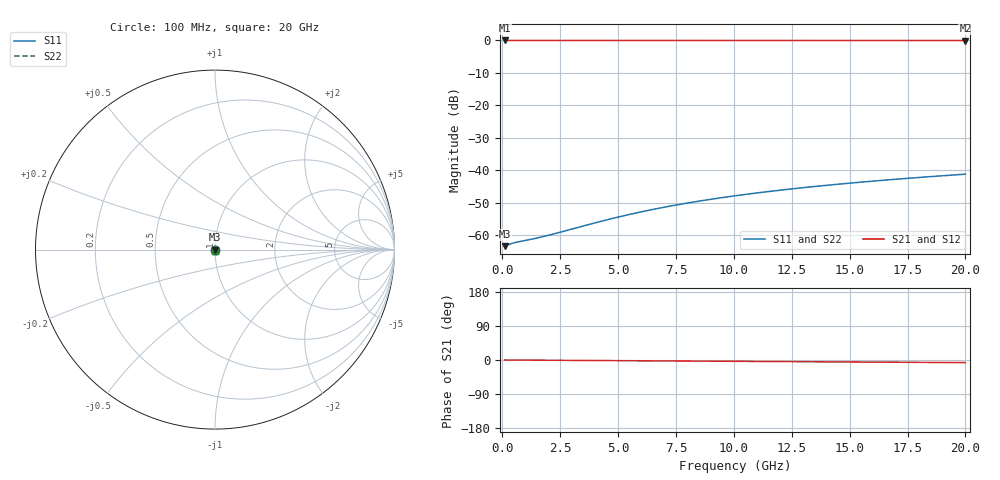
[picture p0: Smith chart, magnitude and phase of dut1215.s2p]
! Touchstone file exported from HFSS 2026.1.0
!  File:  C:/ffzhzh/LocalFiles/Ansys_Project_Files/temp_train_TSV_1215_1783192916_22436.aedt
!  Generated:  03:23:46 AM Jul  5, 2026
!  Design:  TSV
!  Project:  temp_train_TSV_1215_1783192916_22436
! Variables:
!  h_bsmrdl = 2um
!  h_ox = 20um
!  h_rdl = 5um
!  h_sub = 75.03um
!  h_tmrdl = 5um
!  h_tsv = 75.03um
!  h_via = 3um
!  l_bsmrdl = 300um
!  l_sub = 407.34um
!  l_tmrdl = 200um
!  m_sub = 200um
!  pitch = 14.02um
!  r_tsv = 3.67um
!  s_tmrdl = 10um
!  w_bsmrdl = 18um
!  w_sub = 500um
!  w_tmrdl = 12um
!  x_tsv_center1 = 206um
!  x_tsv_center2 = 524um
!  x_tsv_center3 = 736um
!  x_tsv_center4 = 1054um
!  x_tsv_center5 = 1266um
!  x_tsv_center6 = 1584um
# GHz S MA R 50.000000
! Terminal data exported
! Port[1] = TSV1_1_T1
! Port[2] = TSV1_1_T2
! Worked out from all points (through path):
!   200 points, 100 MHz to 20 GHz, reference 50 ohm
!   highest |S21| = -0.01 dB at 100 MHz (marker M1); lowest = 0.0 dB at 20 GHz (marker M2)
!   lowest |S11| = -63.5 dB at 100 MHz (marker M3), VSWR 1.00, Z = 50.1 + j0.00133 ohm
!   |S11| at or under -10 dB: start of sweep to end of sweep
!   |S22| runs from -63.5 to -41.2 dB; largest |S21 - S12| = 4e-15
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0.1  0.0006713 1.1  0.9993 -0.0  0.9993 -0.0  0.0006713 1.1
! Gamma 0 0 0 0
! Port Impedance 50 0 50 0
0.3  0.0007165 0.4  0.9993 -0.1  0.9993 -0.1  0.0007165 0.4
0.5  0.0007552 -2.7  0.9992 -0.2  0.9992 -0.2  0.0007552 -2.7
0.7  0.0007844 -6.1  0.9992 -0.3  0.9992 -0.3  0.0007843 -6.1
1.4  0.000881 -16.7  0.9992 -0.5  0.9992 -0.5  0.000881 -16.7
1.8  0.0009502 -21.6  0.9991 -0.6  0.9991 -0.6  0.0009502 -21.6
2.4  0.001077 -27.8  0.999 -0.9  0.999 -0.9  0.001077 -27.8
3.5  0.001376 -36.6  0.9989 -1.2  0.9989 -1.2  0.001375 -36.6
4.4  0.00167 -42.1  0.9987 -1.6  0.9987 -1.6  0.00167 -42.1
5.2  0.00196 -46.2  0.9986 -1.8  0.9986 -1.8  0.00196 -46.2
6  0.002272 -49.6  0.9985 -2.1  0.9985 -2.1  0.002272 -49.6
6.8  0.002598 -52.7  0.9983 -2.4  0.9983 -2.4  0.002598 -52.7
7.6  0.002937 -55.4  0.9982 -2.7  0.9982 -2.7  0.002936 -55.4
8.4  0.003284 -57.8  0.9981 -2.9  0.9981 -2.9  0.003283 -57.8
9.2  0.003637 -60.0  0.998 -3.2  0.998 -3.2  0.003637 -60.0
10.1  0.00404 -62.2  0.9979 -3.5  0.9979 -3.5  0.00404 -62.2
11.7  0.004768 -65.6  0.9977 -4.1  0.9977 -4.1  0.004767 -65.6
13.4  0.00555 -68.6  0.9975 -4.6  0.9975 -4.6  0.00555 -68.6
15  0.006295 -71.0  0.9974 -5.2  0.9974 -5.2  0.006294 -71.0
16.7  0.007092 -73.2  0.9972 -5.8  0.9972 -5.8  0.007091 -73.2
18.3  0.007849 -75.0  0.9971 -6.3  0.9971 -6.3  0.007848 -75.0
20  0.008661 -76.7  0.997 -6.9  0.997 -6.9  0.00866 -76.7
